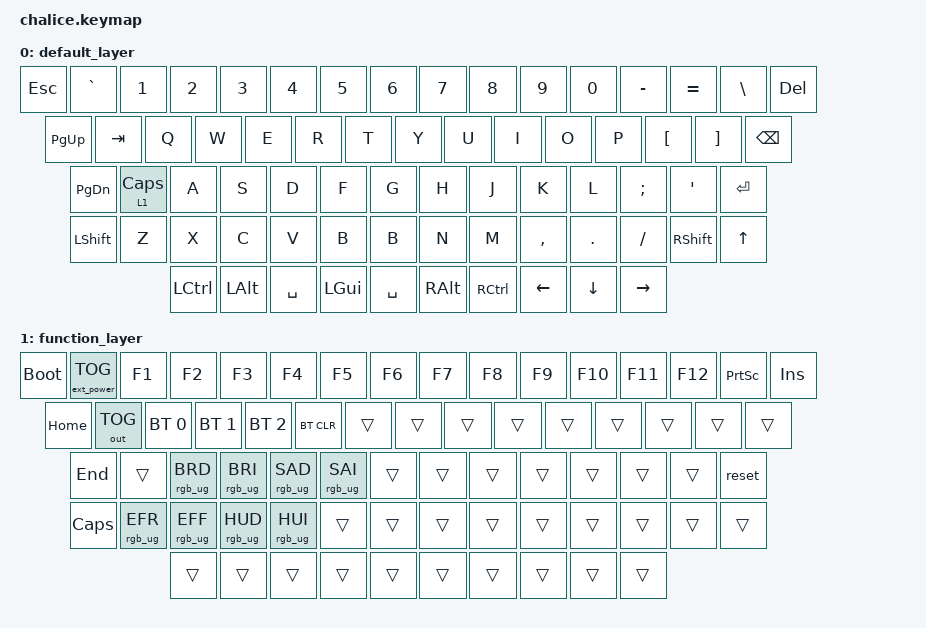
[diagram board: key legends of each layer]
/*
 * Copyright (c) 2021 The ZMK Contributors
 *
 * SPDX-License-Identifier: MIT
 */

#include <behaviors.dtsi>
#include <dt-bindings/zmk/keys.h>
#include <dt-bindings/zmk/bt.h>
#include <dt-bindings/zmk/rgb.h>
#include <dt-bindings/zmk/outputs.h>
#include <dt-bindings/zmk/ext_power.h>

/ {
        chosen { zmk,kscan = &kscan0; zmk,matrix_transform = &splitbs_transform; };
        keymap {
                compatible = "zmk,keymap";

                default_layer {

                        bindings = <
   &kp ESC         &kp GRAVE    &kp N1       &kp N2       &kp N3       &kp N4       &kp N5       &kp N6       &kp N7       &kp N8       &kp N9       &kp N0       &kp MINUS    &kp EQUAL    &kp BSLH     &kp DEL
   &kp PG_UP      &kp TAB      &kp Q        &kp W        &kp E        &kp R        &kp T        &kp Y        &kp U        &kp I        &kp O        &kp P        &kp LBKT     &kp RBKT     &kp BSPC
   &kp PG_DN      &lt 1 CAPS     &kp A        &kp S        &kp D        &kp F        &kp G        &kp H        &kp J        &kp K        &kp L        &kp SEMI     &kp SQT      &kp ENTER                    
                   &kp LSHFT    &kp Z        &kp X        &kp C        &kp V        &kp B        &kp B        &kp N        &kp M        &kp COMMA    &kp DOT      &kp SLASH    &kp RSHFT    &kp UP
                   &kp LCTRL                 &kp LALT                  &kp SPACE    &kp LGUI                     &kp SPACE                 &kp RALT                  &kp RCTRL    &kp LEFT     &kp DOWN     &kp RIGHT 
                                >;
                        };

                function_layer {

                        bindings = <
   &bootloader     &ext_power EP_TOG    &kp F1           &kp F2          &kp F3          &kp F4       &kp F5       &kp F6       &kp F7       &kp F8       &kp F9       &kp F10      &kp F11      &kp F12      &kp PSCRN       &kp INS 
   &kp HOME          &out OUT_TOG   &bt BT_SEL 0  &bt BT_SEL 1 &bt BT_SEL 2 &bt BT_CLR       &trans       &trans       &trans       &trans       &trans       &trans       &trans       &trans       &trans
   &kp END          &trans &rgb_ug RGB_BRD  &rgb_ug RGB_BRI &rgb_ug RGB_SAD &rgb_ug RGB_SAI       &trans       &trans       &trans       &trans       &trans       &trans       &trans       &reset 
                   &kp CAPS &rgb_ug RGB_EFR  &rgb_ug RGB_EFF &rgb_ug RGB_HUD &rgb_ug RGB_HUI       &trans       &trans       &trans       &trans       &trans       &trans       &trans       &trans       &trans
                   &trans                  &trans                          &trans       &trans                    &trans                    &trans                    &trans       &trans     &trans    &trans 
                                >;
                        };               
        };
};
